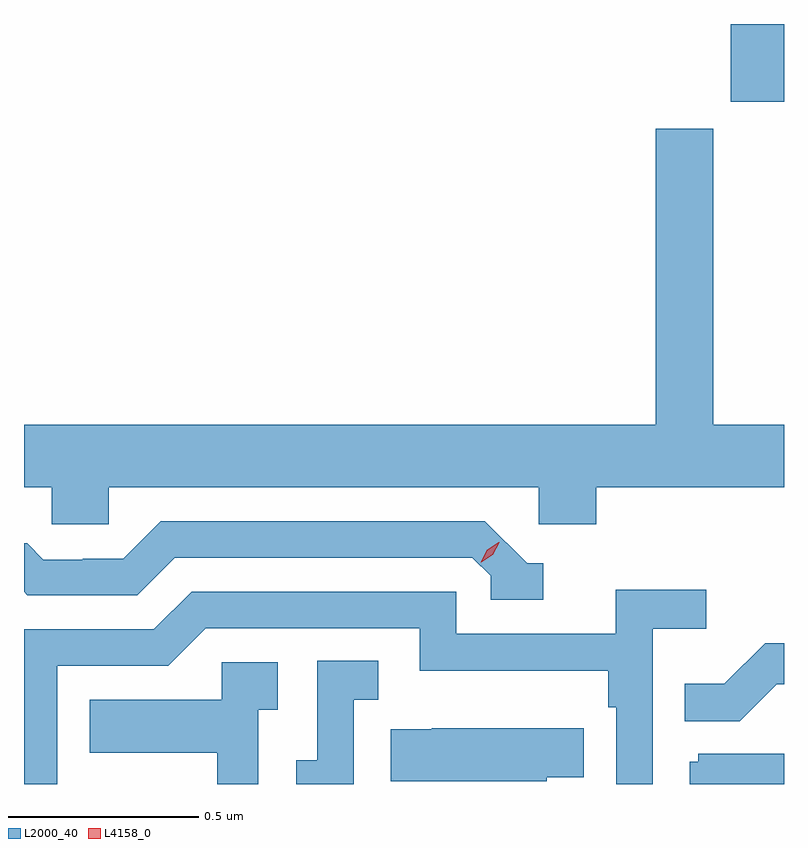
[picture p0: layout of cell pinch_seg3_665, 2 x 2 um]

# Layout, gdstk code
import gdstk
lib = gdstk.Library(unit=1e-6, precision=1e-09)
def R(c, l, rs):  # rectangles x0, y0, x1, y1
    for r in rs: c.add(gdstk.rectangle(r[:2], r[2:], *l))
def P(c, l, *ps):  # polygons
    for p in ps: c.add(gdstk.Polygon(p, *l))
L2000_40 = (2000, 40)
L4158_0 = (4158, 0)

pinch_seg3_665 = lib.new_cell('pinch_seg3_665')
R(pinch_seg3_665, L2000_40, [(1036.136,680.619,1036.276,680.823)])
P(pinch_seg3_665, L2000_40, [(1034.276,679.604),(1034.349,679.604),(1034.349,679.506),(1034.499,679.506),(1034.499,679.604),(1035.63,679.604),(1035.63,679.506),(1035.782,679.506),(1035.782,679.604),(1036.276,679.604),(1036.276,679.768),(1036.09,679.768),(1036.09,680.547),(1035.938,680.547),(1035.938,679.768),(1034.276,679.768)],
  [(1035.643,679.404),(1035.6,679.404),(1035.489,679.515),(1034.636,679.515),(1034.537,679.416),(1034.43,679.416),(1034.43,679.413),(1034.327,679.413),(1034.285,679.456),(1034.276,679.456),(1034.276,679.329),(1034.285,679.32),(1034.574,679.32),(1034.673,679.419),(1035.456,679.419),(1035.504,679.371),(1035.504,679.308),(1035.643,679.308)],
  [(1034.364,679.134),(1034.655,679.134),(1034.754,679.233),(1035.318,679.233),(1035.318,679.121),(1035.814,679.121),(1035.814,679.025),(1035.834,679.025),(1035.834,678.823),(1035.93,678.823),(1035.93,679.232),(1036.072,679.232),(1036.072,679.334),(1035.833,679.334),(1035.833,679.218),(1035.414,679.218),(1035.414,679.329),(1034.717,679.329),(1034.618,679.23),(1034.276,679.23),(1034.276,678.823),(1034.364,678.823)],
  [(1036.257,679.086),(1036.276,679.086),(1036.276,679.194),(1036.226,679.194),(1036.119,679.087),(1036.015,679.087),(1036.015,678.988),(1036.159,678.988)],
  [(1035.144,679.045),(1035.208,679.045),(1035.208,679.148),(1035.048,679.148),(1035.048,678.885),(1034.993,678.885),(1034.993,678.823),(1035.144,678.823)],
  [(1034.892,679.019),(1034.944,679.019),(1034.944,679.143),(1034.796,679.143),(1034.796,679.045),(1034.449,679.045),(1034.449,678.905),(1034.784,678.905),(1034.784,678.823),(1034.892,678.823)],
  [(1035.651,678.841),(1035.749,678.841),(1035.749,678.97),(1035.349,678.97),(1035.349,678.967),(1035.241,678.967),(1035.241,678.83),(1035.651,678.83)],
  [(1036.276,678.903),(1036.05,678.903),(1036.05,678.882),(1036.028,678.882),(1036.028,678.823),(1036.276,678.823)])
P(pinch_seg3_665, L4158_0, [(1035.478,679.406),(1035.478,679.406),(1035.495,679.439),(1035.525,679.459),(1035.526,679.459),(1035.526,679.458),(1035.51,679.426),(1035.479,679.406)])

lib.write_gds('pinch_seg3_665.gds')
